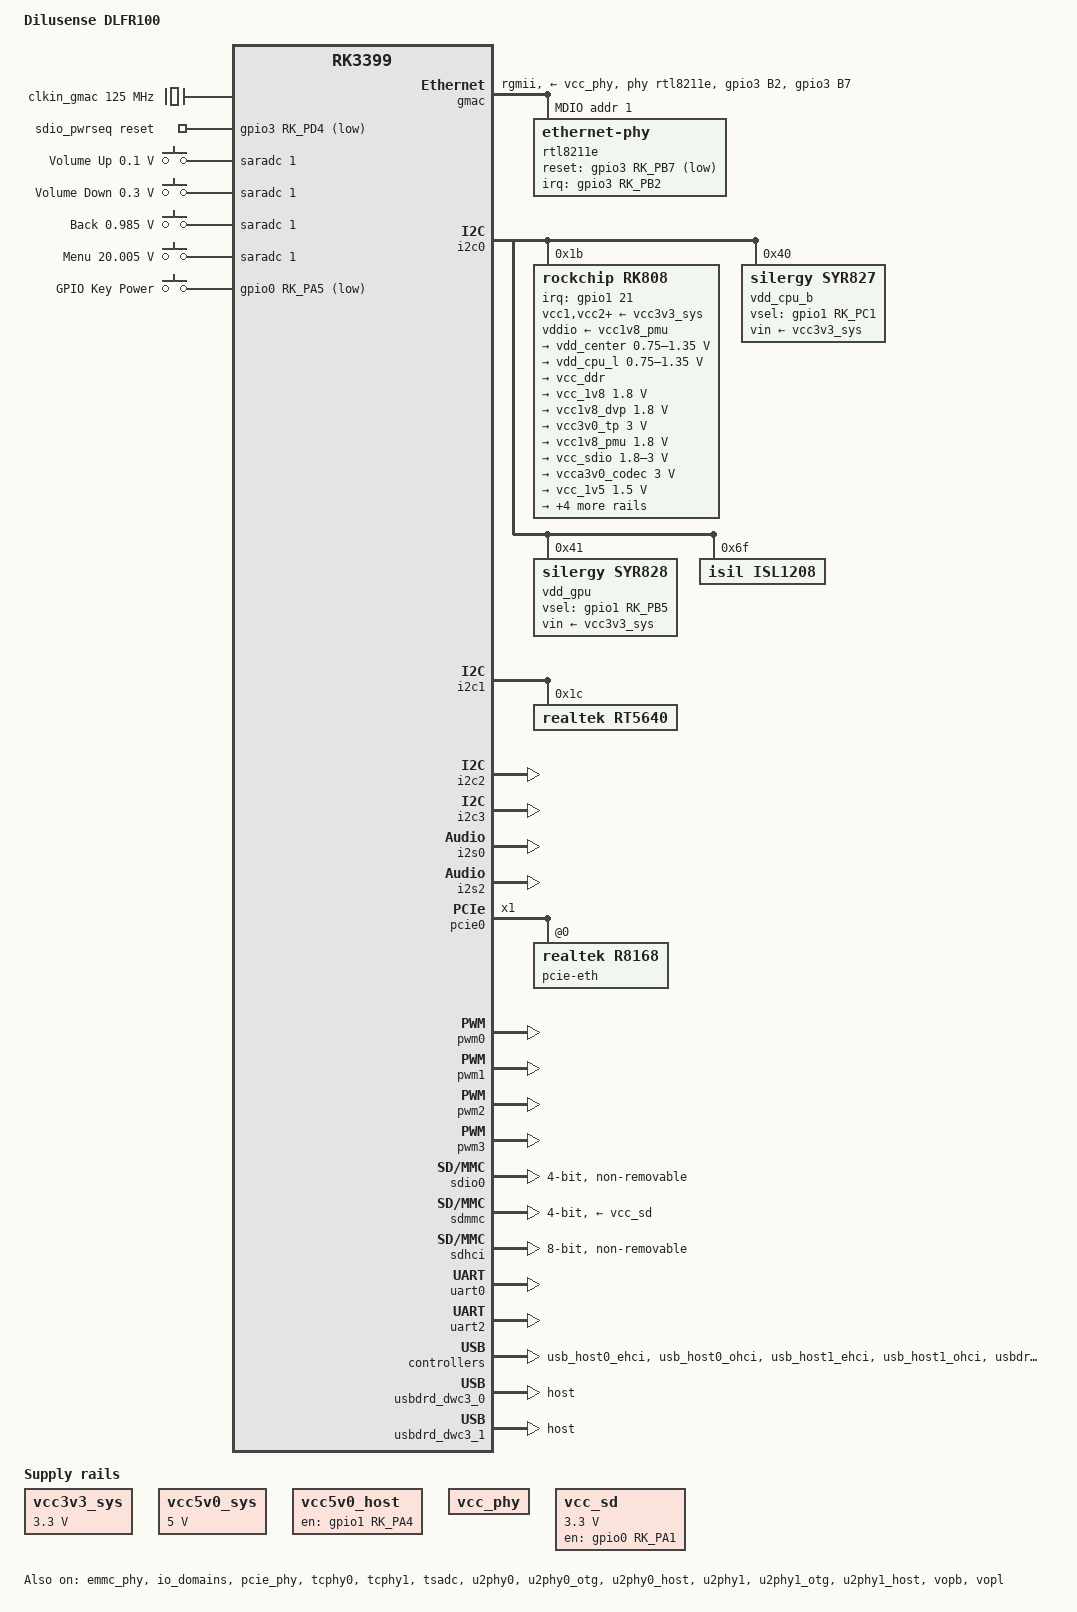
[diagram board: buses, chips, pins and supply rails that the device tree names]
// SPDX-License-Identifier: (GPL-2.0+ OR MIT)
/*
 * Copyright (c) 2016 Fuzhou Rockchip Electronics Co., Ltd
 */

/dts-v1/;
#include <dt-bindings/pwm/pwm.h>
#include <dt-bindings/input/input.h>
#include "rk3399.dtsi"
#include "rk3399-opp.dtsi"

/ {
	model = "Dilusense DLFR100";
	compatible = "dilusense,dlfr100", "rockchip,rk3399";

	chosen {
		stdout-path = "serial2:1500000n8";
	};

	clkin_gmac: external-gmac-clock {
		compatible = "fixed-clock";
		clock-frequency = <125000000>;
		clock-output-names = "clkin_gmac";
		#clock-cells = <0>;
	};

	sdio_pwrseq: sdio-pwrseq {
		compatible = "mmc-pwrseq-simple";
		clocks = <&rk808 1>;
		clock-names = "ext_clock";
		pinctrl-names = "default";
		pinctrl-0 = <&wifi_enable_h>;
		reset-gpios = <&gpio3 RK_PD4 GPIO_ACTIVE_LOW>;
	};

	vcc3v3_sys: vcc3v3-sys {
		compatible = "regulator-fixed";
		regulator-name = "vcc3v3_sys";
		regulator-always-on;
		regulator-boot-on;
		regulator-min-microvolt = <3300000>;
		regulator-max-microvolt = <3300000>;
	};

	vcc5v0_sys: vcc5v0-sys {
		compatible = "regulator-fixed";
		regulator-name = "vcc5v0_sys";
		regulator-always-on;
		regulator-boot-on;
		regulator-min-microvolt = <5000000>;
		regulator-max-microvolt = <5000000>;
	};

	vcc5v0_host: vcc5v0-host-regulator {
		compatible = "regulator-fixed";
		enable-active-high;
		gpio = <&gpio1 RK_PA4 GPIO_ACTIVE_HIGH>;
		pinctrl-names = "default";
		pinctrl-0 = <&vcc5v0_host_en>;
		regulator-name = "vcc5v0_host";
	};

	vcc_phy: vcc-phy-regulator {
		compatible = "regulator-fixed";
		regulator-name = "vcc_phy";
		regulator-always-on;
		regulator-boot-on;
	};

	vcc_sd: vcc-sd {
		compatible = "regulator-fixed";
		enable-active-high;
		gpio = <&gpio0 RK_PA1 GPIO_ACTIVE_LOW>;
		pinctrl-names = "default";
		pinctrl-0 = <&vcc_sd_h>;
		regulator-name = "vcc_sd";
		regulator-min-microvolt = <3300000>;
		regulator-max-microvolt = <3300000>;
	};

	adc-keys {
		compatible = "adc-keys";
		io-channels = <&saradc 1>;
		io-channel-names = "buttons";
		keyup-threshold-microvolt = <1800000>;
		poll-interval = <100>;

		button-up {
			label = "Volume Up";
			linux,code = <KEY_VOLUMEUP>;
			press-threshold-microvolt = <100000>;
		};

		button-down {
			label = "Volume Down";
			linux,code = <KEY_VOLUMEDOWN>;
			press-threshold-microvolt = <300000>;
		};

		back {
			label = "Back";
			linux,code = <KEY_BACK>;
			press-threshold-microvolt = <985000>;
		};

		menu {
			label = "Menu";
			linux,code = <KEY_MENU>;
			press-threshold-microvolt = <0x1314000>;
		};
	};

	gpio-keys {
		compatible = "gpio-keys";
		autorepeat;
		pinctrl-0 = <&pwr_btn>;

		power {
			debounce-interval = <100>;
			gpios = <&gpio0 RK_PA5 GPIO_ACTIVE_LOW>;
			label = "GPIO Key Power";
			linux,code = <KEY_POWER>;
			wakeup-source;
		};
	};

	rt5640-sound {
		compatible = "simple-audio-card";
		simple-audio-card,name = "realtek,rt5640-codec";
		simple-audio-card,format = "i2s";
		simple-audio-card,mclk-fs = <256>;
		simple-audio-card,widgets =
			"Microphone", "Mic Jack",
			"Headphone", "Headphones";
		simple-audio-card,routing =
			"Mic Jack", "micbias1",
			"Headphones", "HPOL",
			"Headphones", "HPOR";
		simple-audio-card,cpu {
			sound-dai = <&i2s0>;
		};
		simple-audio-card,codec {
			sound-dai = <&rt5640>;
		};
	};
};

&cpu_l0 {
	cpu-supply = <&vdd_cpu_l>;
};

&cpu_l1 {
	cpu-supply = <&vdd_cpu_l>;
};

&cpu_l2 {
	cpu-supply = <&vdd_cpu_l>;
};

&cpu_l3 {
	cpu-supply = <&vdd_cpu_l>;
};

&cpu_b0 {
	cpu-supply = <&vdd_cpu_b>;
};

&cpu_b1 {
	cpu-supply = <&vdd_cpu_b>;
};

&emmc_phy {
	status = "okay";
};

&gmac {
	assigned-clocks = <&cru SCLK_RMII_SRC>;
	assigned-clock-parents = <&clkin_gmac>;
	clock_in_out = "input";
	phy-supply = <&vcc_phy>;
	phy-mode = "rgmii";
	phy-handle = <&rtl8211e>;
	pinctrl-names = "default";
	pinctrl-0 = <&rgmii_pins>, <&phy_intb>, <&phy_rstb>;
	tx_delay = <0x28>;
	rx_delay = <0x11>;
	status = "okay";

	mdio {
		compatible = "snps,dwmac-mdio";
		#address-cells = <1>;
		#size-cells = <0>;

		rtl8211e: ethernet-phy@1 {
			reg = <1>;
			interrupt-parent = <&gpio3>;
			interrupts = <RK_PB2 IRQ_TYPE_LEVEL_LOW>;
			reset-assert-us = <10000>;
			reset-deassert-us = <30000>;
			reset-gpios = <&gpio3 RK_PB7 GPIO_ACTIVE_LOW>;
		};
	};
};

&i2c0 {
	status = "okay";

	rk808: pmic@1b {
		compatible = "rockchip,rk808";
		reg = <0x1b>;
		interrupt-parent = <&gpio1>;
		interrupts = <21 IRQ_TYPE_LEVEL_LOW>;
		pinctrl-names = "default";
		pinctrl-0 = <&pmic_int_l &pmic_dvs2>;
		rockchip,system-power-controller;
		wakeup-source;
		#clock-cells = <1>;
		clock-output-names = "rk808-clkout1", "rk808-clkout2";

		vcc1-supply = <&vcc3v3_sys>;
		vcc2-supply = <&vcc3v3_sys>;
		vcc3-supply = <&vcc3v3_sys>;
		vcc4-supply = <&vcc3v3_sys>;
		vcc6-supply = <&vcc3v3_sys>;
		vcc7-supply = <&vcc3v3_sys>;
		vcc8-supply = <&vcc3v3_sys>;
		vcc9-supply = <&vcc3v3_sys>;
		vcc10-supply = <&vcc3v3_sys>;
		vcc11-supply = <&vcc3v3_sys>;
		vcc12-supply = <&vcc3v3_sys>;
		vddio-supply = <&vcc1v8_pmu>;

		regulators {
			vdd_center: DCDC_REG1 {
				regulator-name = "vdd_center";
				regulator-min-microvolt = <750000>;
				regulator-max-microvolt = <1350000>;
				regulator-ramp-delay = <6001>;
				regulator-always-on;
				regulator-boot-on;

				regulator-state-mem {
					regulator-off-in-suspend;
				};
			};

			vdd_cpu_l: DCDC_REG2 {
				regulator-name = "vdd_cpu_l";
				regulator-min-microvolt = <750000>;
				regulator-max-microvolt = <1350000>;
				regulator-ramp-delay = <6001>;
				regulator-always-on;
				regulator-boot-on;

				regulator-state-mem {
					regulator-off-in-suspend;
				};
			};

			vcc_ddr: DCDC_REG3 {
				regulator-name = "vcc_ddr";
				regulator-always-on;
				regulator-boot-on;

				regulator-state-mem {
					regulator-on-in-suspend;
				};
			};

			vcc_1v8: DCDC_REG4 {
				regulator-name = "vcc_1v8";
				regulator-min-microvolt = <1800000>;
				regulator-max-microvolt = <1800000>;
				regulator-always-on;
				regulator-boot-on;

				regulator-state-mem {
					regulator-on-in-suspend;
					regulator-suspend-microvolt = <1800000>;
				};
			};

			vcc1v8_dvp: LDO_REG1 {
				regulator-name = "vcc1v8_dvp";
				regulator-min-microvolt = <1800000>;
				regulator-max-microvolt = <1800000>;
				regulator-always-on;
				regulator-boot-on;

				regulator-state-mem {
					regulator-off-in-suspend;
				};
			};

			vcc3v0_tp: LDO_REG2 {
				regulator-name = "vcc3v0_tp";
				regulator-min-microvolt = <3000000>;
				regulator-max-microvolt = <3000000>;
				regulator-always-on;
				regulator-boot-on;

				regulator-state-mem {
					regulator-off-in-suspend;
				};
			};

			vcc1v8_pmu: LDO_REG3 {
				regulator-name = "vcc1v8_pmu";
				regulator-min-microvolt = <1800000>;
				regulator-max-microvolt = <1800000>;
				regulator-always-on;
				regulator-boot-on;

				regulator-state-mem {
					regulator-on-in-suspend;
					regulator-suspend-microvolt = <1800000>;
				};
			};

			vcc_sdio: LDO_REG4 {
				regulator-name = "vcc_sdio";
				regulator-min-microvolt = <1800000>;
				regulator-max-microvolt = <3000000>;
				regulator-always-on;
				regulator-boot-on;

				regulator-state-mem {
					regulator-on-in-suspend;
					regulator-suspend-microvolt = <3000000>;
				};
			};

			vcca3v0_codec: LDO_REG5 {
				regulator-name = "vcca3v0_codec";
				regulator-min-microvolt = <3000000>;
				regulator-max-microvolt = <3000000>;
				regulator-always-on;
				regulator-boot-on;
				
				regulator-state-mem {
					regulator-off-in-suspend;
				};
			};

			vcc_1v5: LDO_REG6 {
				regulator-name = "vcc_1v5";
				regulator-min-microvolt = <1500000>;
				regulator-max-microvolt = <1500000>;
				regulator-always-on;
				regulator-boot-on;

				regulator-state-mem {
					regulator-on-in-suspend;
					regulator-suspend-microvolt = <1500000>;
				};
			};

			vcca1v8_codec: LDO_REG7 {
				regulator-name = "vcca1v8_codec";
				regulator-min-microvolt = <1800000>;
				regulator-max-microvolt = <1800000>;
				regulator-always-on;
				regulator-boot-on;

				regulator-state-mem {
					regulator-off-in-suspend;
				};
			};

			vcc_3v0: LDO_REG8 {
				regulator-name = "vcc_3v0";
				regulator-min-microvolt = <3000000>;
				regulator-max-microvolt = <3000000>;
				regulator-always-on;
				regulator-boot-on;

				regulator-state-mem {
					regulator-on-in-suspend;
					regulator-suspend-microvolt = <3000000>;
				};
			};

			vcc3v3_s3: SWITCH_REG1 {
				regulator-name = "vcc3v3_s3";
				regulator-always-on;
				regulator-boot-on;

				regulator-state-mem {
					regulator-off-in-suspend;
				};
			};

			vcc3v3_s0: SWITCH_REG2 {
				regulator-name = "vcc3v3_s0";
				regulator-always-on;
				regulator-boot-on;

				regulator-state-mem {
					regulator-off-in-suspend;
				};
			};
		};
	};

	vdd_cpu_b: regulator@40 {
		compatible = "silergy,syr827";
		reg = <0x40>;
		fcs,suspend-voltage-selector = <1>;
		pinctrl-0 = <&vsel1_pin>;
		pinctrl-names = "default";
		regulator-name = "vdd_cpu_b";
		regulator-min-microvolt = <712500>;
		regulator-max-microvolt = <1500000>;
		regulator-ramp-delay = <1000>;
		regulator-always-on;
		regulator-boot-on;
		regulator-initial-state = <3>;
		vsel-gpios = <&gpio1 RK_PC1 GPIO_ACTIVE_HIGH>;
		vin-supply = <&vcc3v3_sys>;

		regulator-state-mem {
			regulator-off-in-suspend;
		};
	};

	vdd_gpu: regulator@41 {
		compatible = "silergy,syr828";
		reg = <0x41>;
		pinctrl-0 = <&vsel2_pin>;
		pinctrl-names = "default";
		fcs,suspend-voltage-selector = <1>;
		regulator-name = "vdd_gpu";
		regulator-min-microvolt = <712500>;
		regulator-max-microvolt = <1500000>;
		regulator-ramp-delay = <1000>;
		regulator-always-on;
		regulator-boot-on;
		regulator-initial-state = <3>;
		vsel-gpios = <&gpio1 RK_PB5 GPIO_ACTIVE_HIGH>;
		vin-supply = <&vcc3v3_sys>;

		regulator-state-mem {
			regulator-off-in-suspend;
		};
	};

	isl1208@6f {
		compatible = "isil,isl1208";
		reg = <0x6f>;
	};
};

&i2c1 {
	i2c-scl-rising-time-ns = <300>;
	i2c-scl-falling-time-ns = <15>;
	status = "okay";

	rt5640: rt5640@1c {
		#sound-dai-cells = <0>;
		compatible = "realtek,rt5640";
		reg = <0x1c>;
		realtek,in1-differential;
		pinctrl-0 = <&i2s_8ch_mclk>;
		clocks = <&cru SCLK_I2S_8CH_OUT>;
		clock-names = "mclk";
	};
};

&i2c2 {
	status = "okay";
};

&i2c3 {
	status = "okay";
};

&i2s0 {
	rockchip,playback-channels = <8>;
	rockchip,capture-channels = <8>;
	status = "okay";
};

&i2s2 {
	status = "okay";
};

&io_domains {
	status = "okay";

	bt656-supply = <&vcc_3v0>;
	audio-supply = <&vcca1v8_codec>;
	sdmmc-supply = <&vcc_sdio>;
	gpio1830-supply = <&vcc_3v0>;
};

&pcie_phy {
	status = "okay";
};

&pcie0 {
	ep-gpios = <&gpio4 RK_PD2 GPIO_ACTIVE_HIGH>;
	max-link-speed = <1>;
	num-lanes = <1>;
	pinctrl-names = "default";
	pinctrl-0 = <&pcie_clkreqn_cpm>;
	status = "okay";

	pcie@0 {
		reg = <0x00000000 0 0 0 0>;
		#address-cells = <3>;
		#size-cells = <2>;

		pcie-eth@0,0 {
			compatible = "realtek,r8168";
			reg = <0x000000 0 0 0 0>;
			realtek,led-data = <0x87>;
		};
	};
};

&pinctrl {
	buttons {
		pwr_btn: pwr-btn {
			rockchip,pins = <0 RK_PA5 RK_FUNC_GPIO &pcfg_pull_up>;
		};
	};

	i2s0 {
		i2s_8ch_mclk: i2s-8ch-mclk {
			rockchip,pins = <4 RK_PA0 1 &pcfg_pull_none>;
		};
	};

	pmic {
		pmic_int_l: pmic-int-l {
			rockchip,pins = <1 RK_PC5 RK_FUNC_GPIO &pcfg_pull_up>;
		};

		vsel1_pin: vsel1-pin {
			rockchip,pins = <1 RK_PC1 RK_FUNC_GPIO &pcfg_pull_down>;
		};

		vsel2_pin: vsel2-pin {
			rockchip,pins = <1 RK_PB5 RK_FUNC_GPIO &pcfg_pull_down>;
		};

		pmic_dvs2:pmic-dvs2 {
			rockchip,pins = <1 RK_PC2 RK_FUNC_GPIO &pcfg_pull_down>;
		};
	};

	sdio-pwrseq {
		wifi_enable_h: wifi-enable-h {
			rockchip,pins = <3 RK_PD4 RK_FUNC_GPIO &pcfg_pull_none>;
		};
	};

	usb2 {
		vcc5v0_host_en: vcc5v0-host-en {
			rockchip,pins = <1 RK_PA4 RK_FUNC_GPIO &pcfg_pull_none>;
		};
	};

	vcc_sd {
		vcc_sd_h: vcc-sd-h {
			rockchip,pins = <0 RK_PA1 RK_FUNC_GPIO &pcfg_pull_up>;
		};
	};

	gmac {
		phy_intb: phy-intb {
			rockchip,pins = <3 RK_PB2 RK_FUNC_GPIO &pcfg_pull_up>;
		};

		phy_rstb: phy-rstb {
			rockchip,pins = <3 RK_PB7 RK_FUNC_GPIO &pcfg_pull_none>;
		};
	};
};

&pwm0 {
	status = "okay";
};

&pwm1 {
	status = "okay";
};

&pwm2 {
	status = "okay";
};

&pwm3 {
	status = "okay";
};

&sdio0 {
	bus-width = <4>;
	disable-wp;
	cap-sd-highspeed;
	cap-sdio-irq;
	keep-power-in-suspend;
	clock-frequency = <50000000>;
	mmc-pwrseq = <&sdio_pwrseq>;
	non-removable;
	pinctrl-names = "default";
	pinctrl-0 = <&sdio0_bus4 &sdio0_cmd &sdio0_clk>;
	status = "okay";
};

&sdmmc {
	bus-width = <4>;
	cap-sd-highspeed;
	cap-mmc-highspeed;
	clock-frequency = <150000000>;
	disable-wp;
	pinctrl-names = "default";
	pinctrl-0 = <&sdmmc_bus4 &sdmmc_clk &sdmmc_cmd &sdmmc_cd>;
	sd-uhs-sdr104;
	vmmc-supply = <&vcc_sd>;
	vqmmc-supply = <&vcc_sdio>;
	status = "okay";
};

&sdhci {
	bus-width = <8>;
	mmc-hs400-1_8v;
	mmc-hs400-enhanced-strobe;
	non-removable;
	status = "okay";
};

&tcphy0 {
	status = "okay";
};

&tcphy1 {
	status = "okay";
};

&tsadc {
	/* tshut mode 0:CRU 1:GPIO */
	rockchip,hw-tshut-mode = <1>;
	/* tshut polarity 0:LOW 1:HIGH */
	rockchip,hw-tshut-polarity = <1>;
	status = "okay";
};

&u2phy0 {
	status = "okay";
};

&u2phy0_otg {
	status = "okay";
};

&u2phy0_host {
	phy-supply = <&vcc5v0_host>;
	status = "okay";
};

&u2phy1 {
	status = "okay";
};

&u2phy1_otg {
	status = "okay";
};

&u2phy1_host {
	phy-supply = <&vcc5v0_host>;
	status = "okay";
};

&uart0 {
	pinctrl-names = "default";
	pinctrl-0 = <&uart0_xfer &uart0_cts>;
	status = "okay";
};

&uart2 {
	status = "okay";
};

&usb_host0_ehci {
	status = "okay";
};

&usb_host0_ohci {
	status = "okay";
};

&usb_host1_ehci {
	status = "okay";
};

&usb_host1_ohci {
	status = "okay";
};

&usbdrd3_0 {
	status = "okay";
};

&usbdrd_dwc3_0 {
	status = "okay";
	dr_mode = "host";
};

&usbdrd3_1 {
	status = "okay";
};

&usbdrd_dwc3_1 {
	status = "okay";
	dr_mode = "host";
};

&vopb {
	status = "okay";
};

&vopb_mmu {
	status = "okay";
};

&vopl {
	status = "okay";
};

&vopl_mmu {
	status = "okay";
};
